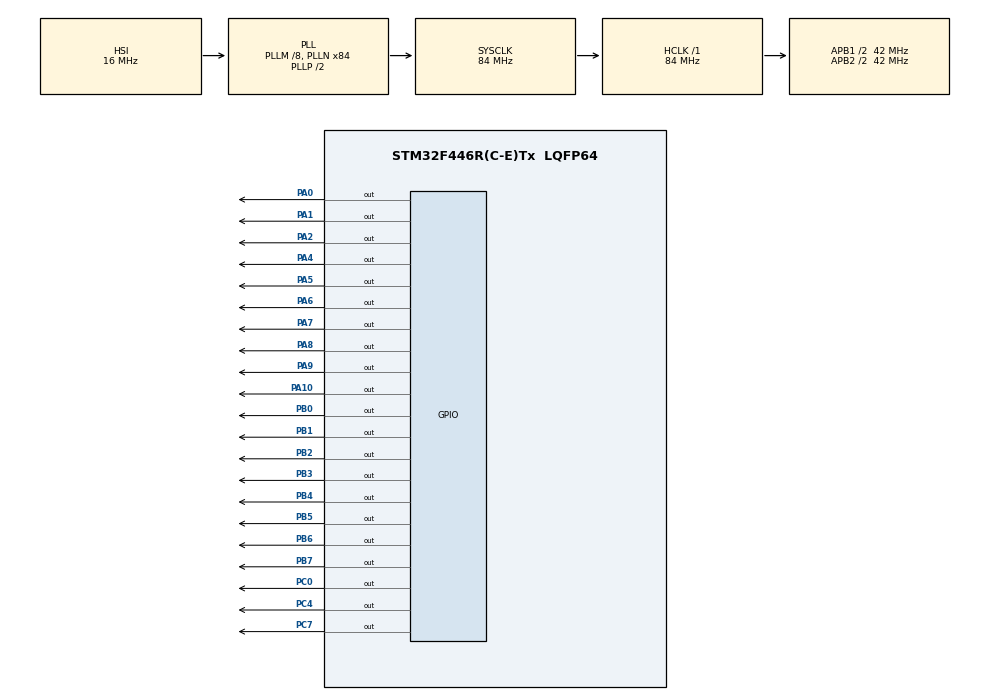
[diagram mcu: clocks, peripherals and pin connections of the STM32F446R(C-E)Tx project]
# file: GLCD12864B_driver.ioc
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Mcu.Family=STM32F4
Mcu.Name=STM32F446R(C-E)Tx
Mcu.Package=LQFP64
NVIC.PriorityGroup=NVIC_PRIORITYGROUP_4
PA0-WKUP.Signal=GPIO_Output
PA1.Signal=GPIO_Output
PA10.Signal=GPIO_Output
PA2.Signal=GPIO_Output
PA4.Signal=GPIO_Output
PA5.Signal=GPIO_Output
PA6.Signal=GPIO_Output
PA7.Signal=GPIO_Output
PA8.Signal=GPIO_Output
PA9.Signal=GPIO_Output
PB0.Signal=GPIO_Output
PB1.Signal=GPIO_Output
PB2.Signal=GPIO_Output
PB3.Signal=GPIO_Output
PB4.Signal=GPIO_Output
PB5.Signal=GPIO_Output
PB6.Signal=GPIO_Output
PB7.Signal=GPIO_Output
PC0.Signal=GPIO_Output
PC4.Signal=GPIO_Output
PC7.Signal=GPIO_Output
ProjectManager.HeapSize=0x2000
ProjectManager.StackSize=0x4000
ProjectManager.TargetToolchain=STM32CubeIDE
RCC.AHBFreq_Value=84000000
RCC.APB1CLKDivider=RCC_HCLK_DIV2
RCC.APB1Freq_Value=42000000
RCC.APB1TimFreq_Value=84000000
RCC.APB2CLKDivider=RCC_HCLK_DIV2
RCC.APB2Freq_Value=42000000
RCC.APB2TimFreq_Value=84000000
RCC.CortexFreq_Value=84000000
RCC.HCLKFreq_Value=84000000
RCC.PLLM=8
RCC.PLLN=84
RCC.SYSCLKFreq_VALUE=84000000
RCC.SYSCLKSource=RCC_SYSCLKSOURCE_PLLCLK
RCC.USBFreq_Value=84000000
RCC.VCOOutputFreq_Value=168000000
TIM1.Prescaler=84-1
VP_TIM1_VS_ClockSourceINT.Mode=Internal
board=custom

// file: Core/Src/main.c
/* USER CODE BEGIN Header */
/**
  ******************************************************************************
  * @file           : main.c
  * @brief          : Main program body
  ******************************************************************************
  * @attention
  *
  * Copyright (c) 2025 STMicroelectronics.
  * All rights reserved.
  *
  * This software is licensed under terms that can be found in the LICENSE file
  * in the root directory of this software component.
  * If no LICENSE file comes with this software, it is provided AS-IS.
  *
  ******************************************************************************
  */
/* USER CODE END Header */
#include "main.h"
#include "tim.h"
#include "gpio.h"

/* USER CODE BEGIN Includes */
#include "glcd12864b_driver.h"
#include "glcd12864_parallel.h"
#include "ST7920_SERIAL.h"
#include "delay.h"
#include "bitmapimage.h"
/* USER CODE END Includes */

void SystemClock_Config(void);

int main(void)
{

  /* MCU Configuration--------------------------------------------------------*/

  /* Reset of all peripherals, Initializes the Flash interface and the Systick. */
  HAL_Init();

  /* Configure the system clock */
  SystemClock_Config();

  /* Initialize all configured peripherals */
  MX_GPIO_Init();
  MX_TIM1_Init();
  /* USER CODE BEGIN 2 */
  delay_init ();
//  LCD_Init();
//
//  lcd_clear();
//  HAL_Delay(1000);
//
////  drawFullGrid();
////// drawTestPattern();
//  drawString(1, 0, "HELLO STM32");
//  drawString(1, 25, "GRAPHIC LCD");
//  test_pixel();
//  //drawFullGrid();
//  st7920_update();

  delay_ms(100);
  lcd_init();
  delay_ms(100);

  lcd_cls();

//

  lcd_draw_topbar();
  lcd_update();
  lcd_draw_battery(0,100,19);
  lcd_draw_H_line(8,0,128);
  lcd_draw_V_line(8,8,64);

//  lcd_clear_buffer();
  lcd_puts(10,10,"AIR TEMPRATURE");
  lcd_puts(20,10,"HUMIDITY");
  lcd_puts(30,10,"PM 2.5");
  lcd_puts(40,10,"PM 10");
  lcd_puts(50,10,"CARBON DIOXIDE CO2");
  lcd_update();

//	lcd_clear_buffer();
//	lcd_puts(10, 5, "GLCD READY");
//	lcd_update_();  // push framebuffer to LCD

  uint8_t signal = 14;
  /* USER CODE END 2 */

  /* Infinite loop */
  /* USER CODE BEGIN WHILE */
  while (1)
  {
	  //lcd_draw_bitmap();
	  lcd_draw_pointer(9,0);
	  delay_ms(100);
	  lcd_draw_pointer(20,0);
	  delay_ms(100);
	  lcd_draw_pointer(30,0);
	  delay_ms(100);
	  lcd_draw_pointer(40,0);
	  delay_ms(100);
	  lcd_draw_pointer(50,0);
//	  lcd_putstring_a(0, 0, "LCD 12864 ST7920", 0, 0);
//	  lcd_putstring_a(1, 0, " CIA SPACE ", 0, 0);
//	  lcd_putstring_a(2, 0, "Graphical Fonts:", 0, 0);
//	  lcd_putstring_a(3, 0, "8x8px.", 0, 0);
//	  //lcd_putnumber(4, 0, 1234, 1, 0, 0);
//
//	  lcd_putstring_a(4, 0, "16x8px.", 1, 0);
//
//	  lcd_putstring_b(6, 0, "16x16px.", 1);
	  lcd_draw_signalStrenght(signal);
	  signal +=5;
	  if(signal>=100)signal=14;
	  HAL_Delay(100);
	  HAL_GPIO_TogglePin(GPIOC,GPIO_PIN_7);
    /* USER CODE END WHILE */

  }
}

void SystemClock_Config(void)
{
  RCC_OscInitTypeDef RCC_OscInitStruct = {0};
  RCC_ClkInitTypeDef RCC_ClkInitStruct = {0};

  /** Configure the main internal regulator output voltage
  */
  __HAL_RCC_PWR_CLK_ENABLE();
  __HAL_PWR_VOLTAGESCALING_CONFIG(PWR_REGULATOR_VOLTAGE_SCALE3);

  /** Initializes the RCC Oscillators according to the specified parameters
  * in the RCC_OscInitTypeDef structure.
  */
  RCC_OscInitStruct.OscillatorType = RCC_OSCILLATORTYPE_HSI;
  RCC_OscInitStruct.HSIState = RCC_HSI_ON;
  RCC_OscInitStruct.HSICalibrationValue = RCC_HSICALIBRATION_DEFAULT;
  RCC_OscInitStruct.PLL.PLLState = RCC_PLL_ON;
  RCC_OscInitStruct.PLL.PLLSource = RCC_PLLSOURCE_HSI;
  RCC_OscInitStruct.PLL.PLLM = 8;
  RCC_OscInitStruct.PLL.PLLN = 84;
  RCC_OscInitStruct.PLL.PLLP = RCC_PLLP_DIV2;
  RCC_OscInitStruct.PLL.PLLQ = 2;
  RCC_OscInitStruct.PLL.PLLR = 2;
  if (HAL_RCC_OscConfig(&RCC_OscInitStruct) != HAL_OK)
  {
    Error_Handler();
  }

  /** Initializes the CPU, AHB and APB buses clocks
  */
  RCC_ClkInitStruct.ClockType = RCC_CLOCKTYPE_HCLK|RCC_CLOCKTYPE_SYSCLK
                              |RCC_CLOCKTYPE_PCLK1|RCC_CLOCKTYPE_PCLK2;
  RCC_ClkInitStruct.SYSCLKSource = RCC_SYSCLKSOURCE_PLLCLK;
  RCC_ClkInitStruct.AHBCLKDivider = RCC_SYSCLK_DIV1;
  RCC_ClkInitStruct.APB1CLKDivider = RCC_HCLK_DIV2;
  RCC_ClkInitStruct.APB2CLKDivider = RCC_HCLK_DIV2;

  if (HAL_RCC_ClockConfig(&RCC_ClkInitStruct, FLASH_LATENCY_2) != HAL_OK)
  {
    Error_Handler();
  }
}

void Error_Handler(void)
{
  __disable_irq();
  while (1)
  {
  }
}
